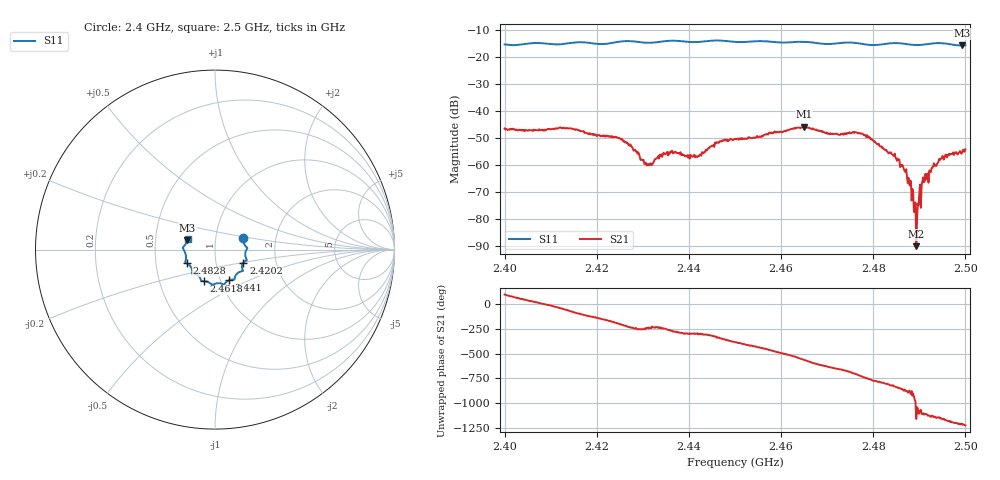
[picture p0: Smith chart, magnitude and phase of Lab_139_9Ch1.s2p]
# Hz S RI R
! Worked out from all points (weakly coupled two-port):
!   601 points, 2.4 GHz to 2.5 GHz, reference 50 ohm
!   highest |S21| = -45.86 dB at 2.465 GHz (marker M1); lowest = -90.0 dB at 2.4893 GHz (marker M2)
!   lowest |S11| = -15.8 dB at 2.4993 GHz (marker M3), VSWR 1.39, Z = 36.5 + j3.88 ohm
!   |S11| at or under -10 dB: start of sweep to end of sweep
!   S12 and S22 are empty: the file has one direction only
!   S11 on the Smith chart (normalised r, x): 2.4 GHz: 1.36, +0.17; 2.4202 GHz: 1.36, -0.20; 2.441 GHz: 1.10, -0.39; 2.4618 GHz: 0.84, -0.30; 2.4828 GHz: 0.72, -0.11; 2.5 GHz: 0.73, +0.09
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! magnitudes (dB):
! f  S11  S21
! 2.4 GHz  -15.4  -46.5
! 2.4167 GHz  -14.6  -47.4
! 2.4202 GHz  -15.2  -49.0
! 2.4252 GHz  -14.3  -50.3
! 2.4308 GHz  -14.8  -60.2
! 2.4333 GHz  -14.5  -56.7
! 2.4365 GHz  -14.0  -55.7
! 2.441 GHz  -14.6  -56.7
! 2.45 GHz  -14.5  -50.3
! 2.4618 GHz  -14.6  -46.9
! 2.465 GHz  -14.4  -45.9
! 2.4667 GHz  -14.6  -46.7
! 2.4773 GHz  -15.1  -48.2
! 2.4828 GHz  -15.1  -54.4
! 2.4833 GHz  -15.0  -55.7
! 2.4868 GHz  -15.2  -62.1
! 2.4893 GHz  -15.6  -90.0
! 2.491 GHz  -15.5  -66.3
! 2.4927 GHz  -15.1  -61.1
! 2.4953 GHz  -15.0  -58.0
! 2.4993 GHz  -15.8  -55.1
! 2.5 GHz  -15.7  -54.1
